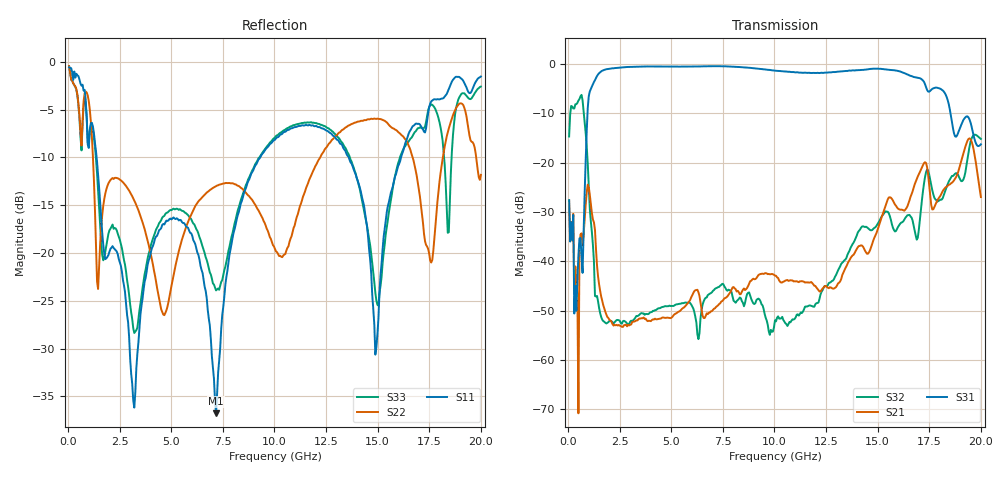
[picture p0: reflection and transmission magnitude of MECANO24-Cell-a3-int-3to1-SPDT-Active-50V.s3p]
#  HZ  S  DB  R  50.00
! Rohde & Schwarz Vector Network Analyzer
! Rohde-Schwarz,ZNA67-4Port,1332450064101810,2.73
! Created: UTC 6/16/2023, 7:30:54 AM
! freq[Hz]  db:S11  ang:S11  db:S12  ang:S12  db:S13  ang:S13
!  db:S21  ang:S21  db:S22  ang:S22  db:S23  ang:S23
!  db:S31  ang:S31  db:S32  ang:S32  db:S33  ang:S33
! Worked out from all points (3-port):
!   399 points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, 50.23 MHz to 20 GHz, reference 50 ohm
!   strongest paths, dB at 50.23 MHz, 5.013 GHz, 10.03 GHz, 15.04 GHz, 20 GHz:
!     S31: -27.6, -0.5, -1.4, -1.0, -16.3
!     S21: -27.6, -51.4, -42.9, -33.1, -27.0
!     S32: -14.7, -49.1, -52.0, -32.2, -15.2
!   lowest |S11| = -36.8 dB at 7.168 GHz (marker M1), VSWR 1.03, Z = 51.1 + j0.944 ohm
!   |S11| at or under -10 dB: 1.382 GHz to 9.311 GHz (7.929 GHz wide, 148 % of centre); 13.59 GHz to 16.13 GHz (2.541 GHz wide, 17.1 % of centre)
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5.022506e7  -0.58 -24.7  -27.57 95.0  -27.55 94.5
            -27.59 95.2  -0.47 -40.9  -14.62 49.8
            -27.61 95.0  -14.71 50.4  -0.48 -41.4
5.013506e8  -1.51 -170.6  -63.08 86.8  -38.84 -46.6
            -70.84 36.2  -4.39 167.7  -7.52 -129.3
            -38.80 -46.8  -7.42 -129.4  -4.58 161.4
5.514757e8  -1.87 178.8  -37.15 103.9  -35.19 -82.4
            -37.34 104.3  -5.60 160.6  -7.20 -149.9
            -35.38 -82.3  -7.11 -150.1  -5.97 154.0
9.524762e8  -8.64 119.1  -24.20 -92.0  -8.77 -81.1
            -24.46 -88.6  -3.54 122.1  -20.26 -0.9
            -8.95 -78.6  -20.21 -1.4  -8.47 116.1
1.704352e9  -19.12 86.1  -48.90 22.3  -1.28 96.5
            -48.90 23.6  -15.07 -158.2  -52.12 -168.1
            -1.27 97.4  -52.13 -168.3  -20.77 -76.4
3.258229e9  -34.57 -45.3  -52.07 -81.4  -0.54 -10.2
            -52.14 -80.0  -14.75 115.0  -51.63 57.8
            -0.53 -9.9  -51.45 57.7  -28.23 -170.6
7.167984e9  -36.78 39.6  -49.31 141.3  -0.46 -143.3
            -49.28 142.0  -13.01 -144.5  -45.55 -56.2
            -0.45 -143.2  -45.46 -56.5  -23.91 -152.9
1.002511e10  -8.16 -128.8  -42.91 32.8  -1.37 134.6
             -42.91 33.7  -19.60 -172.5  -52.52 -164.9
             -1.36 135.2  -51.98 -163.0  -7.91 -140.1
1.488724e10  -30.63 162.6  -34.85 -39.2  -0.97 1.5
             -34.80 -38.7  -5.97 170.7  -33.16 -29.0
             -0.97 1.0  -33.11 -29.2  -24.18 151.3
2e10  -1.55 146.3  -27.00 -139.2  -16.23 -135.1
      -26.98 -137.1  -11.83 177.4  -15.16 -30.2
      -16.28 -135.8  -15.20 -32.2  -2.60 160.5
